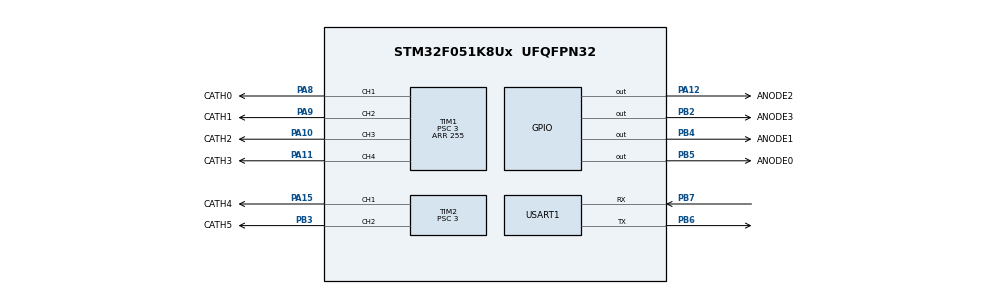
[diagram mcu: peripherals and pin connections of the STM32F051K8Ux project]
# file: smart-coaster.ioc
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FREERTOS.INCLUDE_vTaskDelayUntil=1
FREERTOS.Tasks01=defaultTask,0,128,StartDefaultTask,Default,NULL
Mcu.Family=STM32F0
Mcu.Name=STM32F051K8Ux
Mcu.Package=UFQFPN32
NVIC.TIM3_IRQn=true\:0\:0\:false\:false\:true\:false\:false
NVIC.TimeBase=TIM3_IRQn
NVIC.TimeBaseIP=TIM3
NVIC.USART1_IRQn=true\:3\:0\:false\:false\:true\:true\:true
PA10.GPIO_Label=CATH2
PA10.Signal=S_TIM1_CH3
PA11.GPIO_Label=CATH3
PA11.Signal=S_TIM1_CH4
PA12.GPIO_Label=ANODE2
PA12.Signal=GPIO_Output
PA15.GPIO_Label=CATH4
PA15.Signal=S_TIM2_CH1_ETR
PA8.GPIO_Label=CATH0
PA8.Signal=S_TIM1_CH1
PA9.GPIO_Label=CATH1
PA9.Signal=S_TIM1_CH2
PB2.GPIO_Label=ANODE3
PB2.Signal=GPIO_Output
PB3.GPIO_Label=CATH5
PB3.Signal=S_TIM2_CH2
PB4.GPIO_Label=ANODE1
PB4.Signal=GPIO_Output
PB5.GPIO_Label=ANODE0
PB5.Signal=GPIO_Output
PB6.Mode=Asynchronous
PB6.Signal=USART1_TX
PB7.Mode=Asynchronous
PB7.Signal=USART1_RX
ProjectManager.HeapSize=0x200
ProjectManager.StackSize=0x400
ProjectManager.TargetToolchain=SW4STM32
SH.S_TIM1_CH1.0=TIM1_CH1,PWM Generation1 CH1
SH.S_TIM1_CH2.0=TIM1_CH2,PWM Generation2 CH2
SH.S_TIM1_CH3.0=TIM1_CH3,PWM Generation3 CH3
SH.S_TIM1_CH4.0=TIM1_CH4,PWM Generation4 CH4
SH.S_TIM2_CH1_ETR.0=TIM2_CH1,PWM Generation1 CH1
SH.S_TIM2_CH2.0=TIM2_CH2,PWM Generation2 CH2
TIM1.Channel-PWM\ Generation1\ CH1=TIM_CHANNEL_1
TIM1.Channel-PWM\ Generation2\ CH2=TIM_CHANNEL_2
TIM1.Channel-PWM\ Generation3\ CH3=TIM_CHANNEL_3
TIM1.Channel-PWM\ Generation4\ CH4=TIM_CHANNEL_4
TIM1.Period=255
TIM1.Prescaler=3
TIM2.Channel-PWM\ Generation1\ CH1=TIM_CHANNEL_1
TIM2.Channel-PWM\ Generation2\ CH2=TIM_CHANNEL_2
TIM2.Period=255
TIM2.Prescaler=3
USART1.VirtualMode-Asynchronous=VM_ASYNC
VP_FREERTOS_VS_ENABLE.Mode=Enabled
VP_SYS_VS_tim3.Mode=TIM3
VP_TIM1_VS_ClockSourceINT.Mode=Internal
VP_TIM2_VS_ClockSourceINT.Mode=Internal
board=smart-coaster

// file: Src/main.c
/**
  ******************************************************************************
  * File Name          : main.c
  * Description        : Main program body
  ******************************************************************************
  * This notice applies to any and all portions of this file
  * that are not between comment pairs USER CODE BEGIN and
  * USER CODE END. Other portions of this file, whether
  * inserted by the user or by software development tools
  * are owned by their respective copyright owners.
  *
  * Copyright (c) 2018 STMicroelectronics International N.V.
  * All rights reserved.
  *
  * Redistribution and use in source and binary forms, with or without
  * modification, are permitted, provided that the following conditions are met:
  *
  * 1. Redistribution of source code must retain the above copyright notice,
  *    this list of conditions and the following disclaimer.
  * 2. Redistributions in binary form must reproduce the above copyright notice,
  *    this list of conditions and the following disclaimer in the documentation
  *    and/or other materials provided with the distribution.
  * 3. Neither the name of STMicroelectronics nor the names of other
  *    contributors to this software may be used to endorse or promote products
  *    derived from this software without specific written permission.
  * 4. This software, including modifications and/or derivative works of this
  *    software, must execute solely and exclusively on microcontroller or
  *    microprocessor devices manufactured by or for STMicroelectronics.
  * 5. Redistribution and use of this software other than as permitted under
  *    this license is void and will automatically terminate your rights under
  *    this license.
  *
  * THIS SOFTWARE IS PROVIDED BY STMICROELECTRONICS AND CONTRIBUTORS "AS IS"
  * AND ANY EXPRESS, IMPLIED OR STATUTORY WARRANTIES, INCLUDING, BUT NOT
  * LIMITED TO, THE IMPLIED WARRANTIES OF MERCHANTABILITY, FITNESS FOR A
  * PARTICULAR PURPOSE AND NON-INFRINGEMENT OF THIRD PARTY INTELLECTUAL PROPERTY
  * RIGHTS ARE DISCLAIMED TO THE FULLEST EXTENT PERMITTED BY LAW. IN NO EVENT
  * SHALL STMICROELECTRONICS OR CONTRIBUTORS BE LIABLE FOR ANY DIRECT, INDIRECT,
  * INCIDENTAL, SPECIAL, EXEMPLARY, OR CONSEQUENTIAL DAMAGES (INCLUDING, BUT NOT
  * LIMITED TO, PROCUREMENT OF SUBSTITUTE GOODS OR SERVICES; LOSS OF USE, DATA,
  * OR PROFITS; OR BUSINESS INTERRUPTION) HOWEVER CAUSED AND ON ANY THEORY OF
  * LIABILITY, WHETHER IN CONTRACT, STRICT LIABILITY, OR TORT (INCLUDING
  * NEGLIGENCE OR OTHERWISE) ARISING IN ANY WAY OUT OF THE USE OF THIS SOFTWARE,
  * EVEN IF ADVISED OF THE POSSIBILITY OF SUCH DAMAGE.
  *
  ******************************************************************************
  */

#include "main.h"
#include "stm32f0xx_hal.h"
#include "cmsis_os.h"

/* USER CODE BEGIN Includes */
#include "UART.h"
#include "led.h"
#include <string.h>
/* USER CODE END Includes */

TIM_HandleTypeDef htim1;
TIM_HandleTypeDef htim2;

UART_HandleTypeDef huart1;

osThreadId defaultTaskHandle;

/* USER CODE BEGIN PV */
/* Private variables ---------------------------------------------------------*/
osThreadId ledTaskHandle;
osThreadId animationTaskHandle;

/* USER CODE END PV */

void SystemClock_Config(void);
static void MX_GPIO_Init(void);
static void MX_TIM1_Init(void);
static void MX_USART1_UART_Init(void);
static void MX_TIM2_Init(void);
void StartDefaultTask(void const * argument);
void HAL_TIM_MspPostInit(TIM_HandleTypeDef *htim);

/* USER CODE BEGIN PFP */
/* Private function prototypes -----------------------------------------------*/

/* USER CODE END PFP */

int main(void)
{

  /* MCU Configuration----------------------------------------------------------*/

  /* Reset of all peripherals, Initializes the Flash interface and the Systick. */
  HAL_Init();

  /* Configure the system clock */
  SystemClock_Config();

  /* Initialize all configured peripherals */
  MX_GPIO_Init();
  MX_TIM1_Init();
  MX_USART1_UART_Init();
  MX_TIM2_Init();

  /* USER CODE BEGIN 2 */
  LED_Init( &htim1, &htim2 );
  UART_Init( &huart1 );

  /* USER CODE END 2 */

  /* USER CODE BEGIN RTOS_MUTEX */
  /* add mutexes, ... */
  osMutexDef( led_mutex );
  led_mutex = osMutexCreate( osMutex( led_mutex) );

  if( led_mutex == NULL )
  {
      _Error_Handler( __FILE__, __LINE__ );
  }
  /* USER CODE END RTOS_MUTEX */

  /* Create the thread(s) */
  /* definition and creation of defaultTask */
  osThreadDef(defaultTask, StartDefaultTask, osPriorityNormal, 0, 128);
  defaultTaskHandle = osThreadCreate(osThread(defaultTask), NULL);

  /* USER CODE BEGIN RTOS_THREADS */
  /* add threads, ... */
  //xTaskCreate( LED_RefreshMatrixTask, "Task 1", 1000, NULL, 1, NULL );
  osThreadDef( ledTask, LED_RefreshMatrixTask, osPriorityAboveNormal, 0, 128 );
  ledTaskHandle = osThreadCreate( osThread( ledTask ), NULL );

  osThreadDef( animationTask, LED_AnimationTask, osPriorityNormal, 0, 128 );
  animationTaskHandle = osThreadCreate( osThread( animationTask ), NULL );
  /* USER CODE END RTOS_THREADS */

  /* Start scheduler */
  osKernelStart();

  /* We should never get here as control is now taken by the scheduler */

  /* Infinite loop */
  while (1)
  {

  }

}

/** System Clock Configuration
*/
void SystemClock_Config(void)
{

  RCC_OscInitTypeDef RCC_OscInitStruct;
  RCC_ClkInitTypeDef RCC_ClkInitStruct;
  RCC_PeriphCLKInitTypeDef PeriphClkInit;

    /**Initializes the CPU, AHB and APB busses clocks
    */
  RCC_OscInitStruct.OscillatorType = RCC_OSCILLATORTYPE_HSI;
  RCC_OscInitStruct.HSIState = RCC_HSI_ON;
  RCC_OscInitStruct.HSICalibrationValue = 16;
  RCC_OscInitStruct.PLL.PLLState = RCC_PLL_NONE;
  if (HAL_RCC_OscConfig(&RCC_OscInitStruct) != HAL_OK)
  {
    _Error_Handler(__FILE__, __LINE__);
  }

    /**Initializes the CPU, AHB and APB busses clocks
    */
  RCC_ClkInitStruct.ClockType = RCC_CLOCKTYPE_HCLK|RCC_CLOCKTYPE_SYSCLK
                              |RCC_CLOCKTYPE_PCLK1;
  RCC_ClkInitStruct.SYSCLKSource = RCC_SYSCLKSOURCE_HSI;
  RCC_ClkInitStruct.AHBCLKDivider = RCC_SYSCLK_DIV1;
  RCC_ClkInitStruct.APB1CLKDivider = RCC_HCLK_DIV1;

  if (HAL_RCC_ClockConfig(&RCC_ClkInitStruct, FLASH_LATENCY_0) != HAL_OK)
  {
    _Error_Handler(__FILE__, __LINE__);
  }

  PeriphClkInit.PeriphClockSelection = RCC_PERIPHCLK_USART1;
  PeriphClkInit.Usart1ClockSelection = RCC_USART1CLKSOURCE_PCLK1;
  if (HAL_RCCEx_PeriphCLKConfig(&PeriphClkInit) != HAL_OK)
  {
    _Error_Handler(__FILE__, __LINE__);
  }

    /**Configure the Systick interrupt time
    */
  HAL_SYSTICK_Config(HAL_RCC_GetHCLKFreq()/1000);

    /**Configure the Systick
    */
  HAL_SYSTICK_CLKSourceConfig(SYSTICK_CLKSOURCE_HCLK);

  /* SysTick_IRQn interrupt configuration */
  HAL_NVIC_SetPriority(SysTick_IRQn, 3, 0);
}

/* TIM1 init function */
static void MX_TIM1_Init(void)
{

  TIM_ClockConfigTypeDef sClockSourceConfig;
  TIM_MasterConfigTypeDef sMasterConfig;
  TIM_OC_InitTypeDef sConfigOC;
  TIM_BreakDeadTimeConfigTypeDef sBreakDeadTimeConfig;

  htim1.Instance = TIM1;
  htim1.Init.Prescaler = 3;
  htim1.Init.CounterMode = TIM_COUNTERMODE_UP;
  htim1.Init.Period = 255;
  htim1.Init.ClockDivision = TIM_CLOCKDIVISION_DIV1;
  htim1.Init.RepetitionCounter = 0;
  htim1.Init.AutoReloadPreload = TIM_AUTORELOAD_PRELOAD_DISABLE;
  if (HAL_TIM_Base_Init(&htim1) != HAL_OK)
  {
    _Error_Handler(__FILE__, __LINE__);
  }

  sClockSourceConfig.ClockSource = TIM_CLOCKSOURCE_INTERNAL;
  if (HAL_TIM_ConfigClockSource(&htim1, &sClockSourceConfig) != HAL_OK)
  {
    _Error_Handler(__FILE__, __LINE__);
  }

  if (HAL_TIM_PWM_Init(&htim1) != HAL_OK)
  {
    _Error_Handler(__FILE__, __LINE__);
  }

  sMasterConfig.MasterOutputTrigger = TIM_TRGO_RESET;
  sMasterConfig.MasterSlaveMode = TIM_MASTERSLAVEMODE_DISABLE;
  if (HAL_TIMEx_MasterConfigSynchronization(&htim1, &sMasterConfig) != HAL_OK)
  {
    _Error_Handler(__FILE__, __LINE__);
  }

  sConfigOC.OCMode = TIM_OCMODE_PWM1;
  sConfigOC.Pulse = 0;
  sConfigOC.OCPolarity = TIM_OCPOLARITY_HIGH;
  sConfigOC.OCNPolarity = TIM_OCNPOLARITY_HIGH;
  sConfigOC.OCFastMode = TIM_OCFAST_DISABLE;
  sConfigOC.OCIdleState = TIM_OCIDLESTATE_RESET;
  sConfigOC.OCNIdleState = TIM_OCNIDLESTATE_RESET;
  if (HAL_TIM_PWM_ConfigChannel(&htim1, &sConfigOC, TIM_CHANNEL_1) != HAL_OK)
  {
    _Error_Handler(__FILE__, __LINE__);
  }

  if (HAL_TIM_PWM_ConfigChannel(&htim1, &sConfigOC, TIM_CHANNEL_2) != HAL_OK)
  {
    _Error_Handler(__FILE__, __LINE__);
  }

  if (HAL_TIM_PWM_ConfigChannel(&htim1, &sConfigOC, TIM_CHANNEL_3) != HAL_OK)
  {
    _Error_Handler(__FILE__, __LINE__);
  }

  if (HAL_TIM_PWM_ConfigChannel(&htim1, &sConfigOC, TIM_CHANNEL_4) != HAL_OK)
  {
    _Error_Handler(__FILE__, __LINE__);
  }

  sBreakDeadTimeConfig.OffStateRunMode = TIM_OSSR_DISABLE;
  sBreakDeadTimeConfig.OffStateIDLEMode = TIM_OSSI_DISABLE;
  sBreakDeadTimeConfig.LockLevel = TIM_LOCKLEVEL_OFF;
  sBreakDeadTimeConfig.DeadTime = 0;
  sBreakDeadTimeConfig.BreakState = TIM_BREAK_DISABLE;
  sBreakDeadTimeConfig.BreakPolarity = TIM_BREAKPOLARITY_HIGH;
  sBreakDeadTimeConfig.AutomaticOutput = TIM_AUTOMATICOUTPUT_DISABLE;
  if (HAL_TIMEx_ConfigBreakDeadTime(&htim1, &sBreakDeadTimeConfig) != HAL_OK)
  {
    _Error_Handler(__FILE__, __LINE__);
  }

  HAL_TIM_MspPostInit(&htim1);

}

/* TIM2 init function */
static void MX_TIM2_Init(void)
{

  TIM_ClockConfigTypeDef sClockSourceConfig;
  TIM_MasterConfigTypeDef sMasterConfig;
  TIM_OC_InitTypeDef sConfigOC;

  htim2.Instance = TIM2;
  htim2.Init.Prescaler = 3;
  htim2.Init.CounterMode = TIM_COUNTERMODE_UP;
  htim2.Init.Period = 255;
  htim2.Init.ClockDivision = TIM_CLOCKDIVISION_DIV1;
  htim2.Init.AutoReloadPreload = TIM_AUTORELOAD_PRELOAD_DISABLE;
  if (HAL_TIM_Base_Init(&htim2) != HAL_OK)
  {
    _Error_Handler(__FILE__, __LINE__);
  }

  sClockSourceConfig.ClockSource = TIM_CLOCKSOURCE_INTERNAL;
  if (HAL_TIM_ConfigClockSource(&htim2, &sClockSourceConfig) != HAL_OK)
  {
    _Error_Handler(__FILE__, __LINE__);
  }

  if (HAL_TIM_PWM_Init(&htim2) != HAL_OK)
  {
    _Error_Handler(__FILE__, __LINE__);
  }

  sMasterConfig.MasterOutputTrigger = TIM_TRGO_RESET;
  sMasterConfig.MasterSlaveMode = TIM_MASTERSLAVEMODE_DISABLE;
  if (HAL_TIMEx_MasterConfigSynchronization(&htim2, &sMasterConfig) != HAL_OK)
  {
    _Error_Handler(__FILE__, __LINE__);
  }

  sConfigOC.OCMode = TIM_OCMODE_PWM1;
  sConfigOC.Pulse = 0;
  sConfigOC.OCPolarity = TIM_OCPOLARITY_HIGH;
  sConfigOC.OCFastMode = TIM_OCFAST_DISABLE;
  if (HAL_TIM_PWM_ConfigChannel(&htim2, &sConfigOC, TIM_CHANNEL_1) != HAL_OK)
  {
    _Error_Handler(__FILE__, __LINE__);
  }

  if (HAL_TIM_PWM_ConfigChannel(&htim2, &sConfigOC, TIM_CHANNEL_2) != HAL_OK)
  {
    _Error_Handler(__FILE__, __LINE__);
  }

  HAL_TIM_MspPostInit(&htim2);

}

/* USART1 init function */
static void MX_USART1_UART_Init(void)
{

  huart1.Instance = USART1;
  huart1.Init.BaudRate = 38400;
  huart1.Init.WordLength = UART_WORDLENGTH_8B;
  huart1.Init.StopBits = UART_STOPBITS_1;
  huart1.Init.Parity = UART_PARITY_NONE;
  huart1.Init.Mode = UART_MODE_TX_RX;
  huart1.Init.HwFlowCtl = UART_HWCONTROL_NONE;
  huart1.Init.OverSampling = UART_OVERSAMPLING_16;
  huart1.Init.OneBitSampling = UART_ONE_BIT_SAMPLE_DISABLE;
  huart1.AdvancedInit.AdvFeatureInit = UART_ADVFEATURE_NO_INIT;
  if (HAL_UART_Init(&huart1) != HAL_OK)
  {
    _Error_Handler(__FILE__, __LINE__);
  }

}

/** Configure pins as
        * Analog
        * Input
        * Output
        * EVENT_OUT
        * EXTI
*/
static void MX_GPIO_Init(void)
{

  GPIO_InitTypeDef GPIO_InitStruct;

  /* GPIO Ports Clock Enable */
  __HAL_RCC_GPIOB_CLK_ENABLE();
  __HAL_RCC_GPIOA_CLK_ENABLE();

  /*Configure GPIO pin Output Level */
  HAL_GPIO_WritePin(GPIOB, ANODE3_Pin|ANODE1_Pin|ANODE0_Pin, GPIO_PIN_RESET);

  /*Configure GPIO pin Output Level */
  HAL_GPIO_WritePin(ANODE2_GPIO_Port, ANODE2_Pin, GPIO_PIN_RESET);

  /*Configure GPIO pins : ANODE3_Pin ANODE1_Pin ANODE0_Pin */
  GPIO_InitStruct.Pin = ANODE3_Pin|ANODE1_Pin|ANODE0_Pin;
  GPIO_InitStruct.Mode = GPIO_MODE_OUTPUT_PP;
  GPIO_InitStruct.Pull = GPIO_NOPULL;
  GPIO_InitStruct.Speed = GPIO_SPEED_FREQ_LOW;
  HAL_GPIO_Init(GPIOB, &GPIO_InitStruct);

  /*Configure GPIO pin : ANODE2_Pin */
  GPIO_InitStruct.Pin = ANODE2_Pin;
  GPIO_InitStruct.Mode = GPIO_MODE_OUTPUT_PP;
  GPIO_InitStruct.Pull = GPIO_NOPULL;
  GPIO_InitStruct.Speed = GPIO_SPEED_FREQ_LOW;
  HAL_GPIO_Init(ANODE2_GPIO_Port, &GPIO_InitStruct);

}

/* StartDefaultTask function */
void StartDefaultTask(void const * argument)
{

  /* USER CODE BEGIN 5 */
  /* Infinite loop */
  for(;;)
  {
      if( UART_CheckSending() )
      {
          vTaskDelay( pdMS_TO_TICKS( 100 ) );
      }
      else
      {
          char* toSend = "hello world\r\n";
          UART_Send( ( uint8_t* )toSend, strlen( toSend ) );
      }
  }
  /* USER CODE END 5 */
}

void HAL_TIM_PeriodElapsedCallback(TIM_HandleTypeDef *htim)
{
  if (htim->Instance == TIM3) {
    HAL_IncTick();
  }
}

void _Error_Handler(char * file, int line)
{
  while(1)
  {
  }
}

/************************ (C) COPYRIGHT STMicroelectronics *****END OF FILE****/
